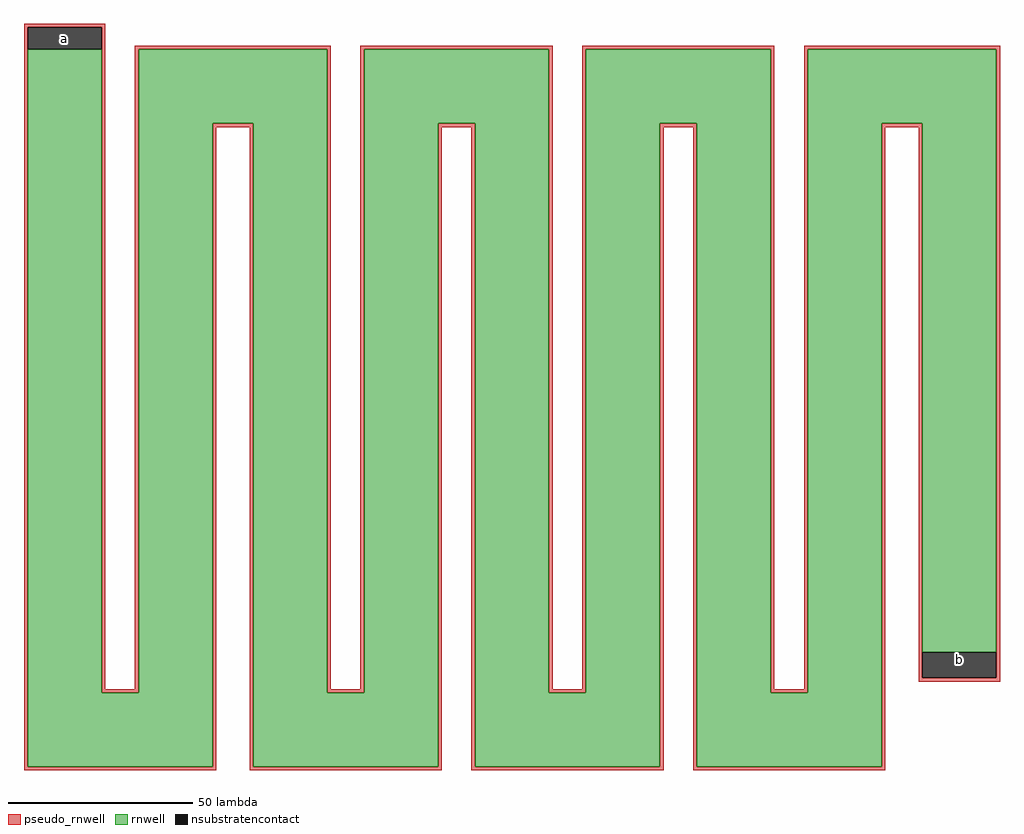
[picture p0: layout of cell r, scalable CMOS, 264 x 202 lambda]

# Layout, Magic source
magic
tech scmos
<< nsubstratencontact >>
rect 38 -487 58 -481
rect 280 -657 300 -650
<< pseudo_rnwell >>
rect 37 -481 59 -480
rect 37 -681 38 -481
rect 58 -660 59 -481
rect 67 -487 120 -486
rect 67 -660 68 -487
rect 58 -661 68 -660
rect 88 -508 99 -507
rect 88 -681 89 -508
rect 37 -682 89 -681
rect 98 -681 99 -508
rect 119 -660 120 -487
rect 128 -487 180 -486
rect 128 -660 129 -487
rect 119 -661 129 -660
rect 149 -508 159 -507
rect 149 -681 150 -508
rect 98 -682 150 -681
rect 158 -681 159 -508
rect 179 -660 180 -487
rect 188 -487 240 -486
rect 188 -660 189 -487
rect 179 -661 189 -660
rect 209 -508 219 -507
rect 209 -681 210 -508
rect 158 -682 210 -681
rect 218 -681 219 -508
rect 239 -660 240 -487
rect 248 -487 301 -486
rect 248 -660 249 -487
rect 239 -661 249 -660
rect 269 -508 280 -507
rect 269 -681 270 -508
rect 279 -657 280 -508
rect 300 -657 301 -487
rect 279 -658 301 -657
rect 218 -682 270 -681
<< rnwell >>
rect 38 -661 58 -487
rect 68 -507 119 -487
rect 68 -661 88 -507
rect 38 -681 88 -661
rect 99 -661 119 -507
rect 129 -507 179 -487
rect 129 -661 149 -507
rect 99 -681 149 -661
rect 159 -661 179 -507
rect 189 -507 239 -487
rect 189 -661 209 -507
rect 159 -681 209 -661
rect 219 -661 239 -507
rect 249 -507 300 -487
rect 249 -661 269 -507
rect 219 -681 269 -661
rect 280 -650 300 -507
<< labels >>
rlabel nsubstratencontact 290 -652 290 -652 1 b
rlabel nsubstratencontact 48 -484 48 -484 1 a
<< end >>
